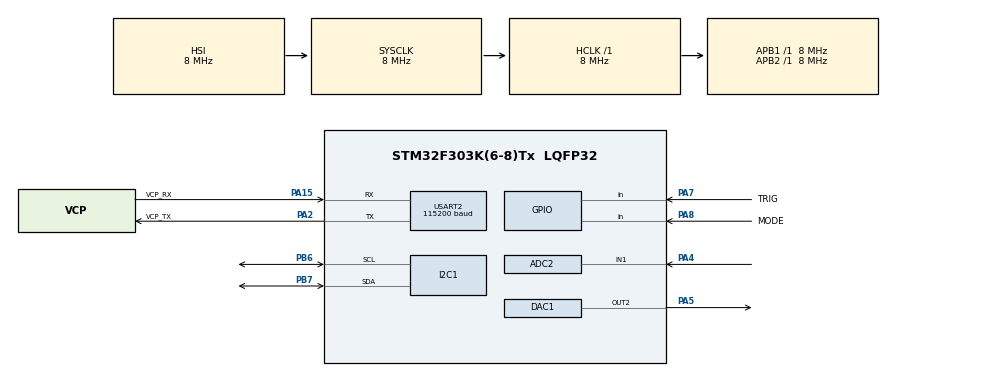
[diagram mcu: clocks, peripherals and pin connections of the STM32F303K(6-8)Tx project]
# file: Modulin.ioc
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ADC2.Channel-1\#ChannelRegularConversion=ADC_CHANNEL_1
ADC2.NbrOfConversionFlag=1
ADC2.Offset-1\#ChannelRegularConversion=0
ADC2.OffsetNumber-1\#ChannelRegularConversion=ADC_OFFSET_NONE
ADC2.Rank-1\#ChannelRegularConversion=1
ADC2.SamplingTime-1\#ChannelRegularConversion=ADC_SAMPLETIME_1CYCLE_5
ADC2.SamplingTimeOPAMP-1\#ChannelRegularConversion=ADC_SAMPLETIME_7CYCLES_5
ADC2.SubFamily=STM32F303x8
Mcu.Family=STM32F3
Mcu.Name=STM32F303K(6-8)Tx
Mcu.Package=LQFP32
NVIC.PriorityGroup=NVIC_PRIORITYGROUP_4
PA13.GPIO_Label=SWDIO
PA13.Mode=Serial_Wire
PA13.Signal=SYS_JTMS-SWDIO
PA14.GPIO_Label=SWCLK
PA14.Mode=Serial_Wire
PA14.Signal=SYS_JTCK-SWCLK
PA15.GPIO_Label=VCP_RX
PA15.Mode=Asynchronous
PA15.Signal=USART2_RX
PA2.GPIO_Label=VCP_TX
PA2.Mode=Asynchronous
PA2.Signal=USART2_TX
PA4.Mode=IN1-Single-Ended
PA4.Signal=ADC2_IN1
PA5.Signal=COMP_DAC12_group
PA7.GPIO_Label=TRIG
PA7.GPIO_PuPd=GPIO_NOPULL
PA7.Signal=GPIO_Input
PA8.GPIO_Label=MODE
PA8.GPIO_PuPd=GPIO_PULLDOWN
PA8.Signal=GPIO_Input
PB6.GPIO_Pu=GPIO_PULLUP
PB6.Mode=I2C
PB6.Signal=I2C1_SCL
PB7.GPIO_Pu=GPIO_PULLUP
PB7.Mode=I2C
PB7.Signal=I2C1_SDA
PF0\ /\ OSC_IN.GPIO_Label=MCO
PF0\ /\ OSC_IN.Mode=HSE-External-Clock-Source
PF0\ /\ OSC_IN.Signal=RCC_OSC_IN
ProjectManager.HeapSize=0x200
ProjectManager.StackSize=0x400
ProjectManager.TargetToolchain=STM32CubeIDE
RCC.AHBFreq_Value=8000000
RCC.APB1Freq_Value=8000000
RCC.APB2Freq_Value=8000000
RCC.CortexFreq_Value=8000000
RCC.HSE_VALUE=8000000
RCC.HSI_VALUE=8000000
RCC.PLLMUL=RCC_PLL_MUL4
RCC.SYSCLKFreq_VALUE=8000000
SH.COMP_DAC12_group.0=DAC1_OUT2,DAC_OUT2
USART2.BaudRate=115200
USART2.VirtualMode-Asynchronous=VM_ASYNC
board=NUCLEO-F303K8

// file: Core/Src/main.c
/* USER CODE BEGIN Header */
/**
  ******************************************************************************
  * @file           : main.c
  * @brief          : Main program body
  ******************************************************************************
  * @attention
  *
  * <h2><center>&copy; Copyright (c) 2019 STMicroelectronics.
  * All rights reserved.</center></h2>
  *
  * This software component is licensed by ST under BSD 3-Clause license,
  * the "License"; You may not use this file except in compliance with the
  * License. You may obtain a copy of the License at:
  *                        opensource.org/licenses/BSD-3-Clause
  *
  ******************************************************************************
  */
/* USER CODE END Header */
#include "main.h"
#include "adc.h"
#include "dac.h"
#include "i2c.h"
#include "usart.h"
#include "gpio.h"

/* USER CODE BEGIN Includes */
#include <string.h>
#include <stdio.h>
#include "ssd1306.h"
#include "ssd1306_fonts.h"
/* USER CODE END Includes */

/* USER CODE BEGIN PM */
#define IN_MAX 4000
#define IN_RELAXED 3900
#define MODE_LIM 2
#define NOT_PRESSED 1000
/* USER CODE END PM */

void SystemClock_Config(void);

/* USER CODE BEGIN 0 */

// Function for mapping input to different steps
uint16_t Map(uint16_t x, int step) {
	return step - (uint16_t)(x * step / IN_MAX);
	// return x * step / (IN_MAX - in_min) + out_min;
}

// Reads the current voltage level from the controller
uint16_t ADC_Read(int step) {
	HAL_ADC_Start(&hadc2);
	HAL_ADC_PollForConversion(&hadc2, HAL_MAX_DELAY);
 	uint16_t raw = HAL_ADC_GetValue(&hadc2);
 	if (raw > IN_RELAXED) {
 		return NOT_PRESSED;
 	}
 	char msg[10];
 	sprintf(msg, "%hu\r\n", raw);
 	HAL_UART_Transmit(&huart2, (uint8_t*)msg, strlen(msg), HAL_MAX_DELAY);
 	HAL_DAC_SetValue(&hdac1, DAC1_CHANNEL_2, DAC_ALIGN_12B_R, IN_MAX - raw);
 	return 1; //Map(raw, step);
}

void DisplayMode(char *mode) {
	ssd1306_Fill(Black);
	ssd1306_SetCursor(5, 20);
	ssd1306_WriteString(mode, Font_7x10, White);
	ssd1306_UpdateScreen();
}

void DisplayStep(int step) {
	ssd1306_SetCursor(8, 20);
	ssd1306_WriteData(step, sizeof(int));
	ssd1306_UpdateScreen();
}

/* USER CODE END 0 */

int main(void)
{
  /* USER CODE BEGIN 1 */
  char msg[10];
  uint16_t position;
  uint16_t previous;

  // Array of the correct voltages for 12-TET
  int tet12[] = {
		  801, 920, 1039, 1157, 1275, 1393, 1511, 1630, 1748, 1867, 1985, 2104, // 1st octave
		  2228, 2347, 2466, 2584, 2703, 2822, 2940, 3058, 3177, 3295, 3414, 3532 // 2nd octave
  };

  // Array of the correct voltages for a Major scale
  int major[] = {
		  0, 204, 410, 514, 719, 925, 1028, // 1st Octave
		  1239, 1444, 1651, 1753, 1959, 2166, 2371, // 2nd Octave
		  2479, 2685, 2891, 2994, 3200, 3405, 3611, // 3rd Octave
		  3719 // Last C
  };

  int minor[] = {
  		  0, 204, 307, 514, 719, 822, 1028, // 1st Octave
		  1239, 1444, 1548, 1753, 1857, 1959, 2166, // 2nd Octave
  		  2479, 2685, 2788, 2994, 3200, 3302, 3508, // 3rd Octave
  		  3719 // Last C
  };

  int* modes[] = {tet12, major, minor};
  int mode = 0;
  int steps = 24;
  /* USER CODE END 1 */

  /* MCU Configuration--------------------------------------------------------*/

  /* Reset of all peripherals, Initializes the Flash interface and the Systick. */
  HAL_Init();

  /* Configure the system clock */
  SystemClock_Config();

  /* Initialize all configured peripherals */
  MX_GPIO_Init();
  MX_USART2_UART_Init();
  MX_ADC2_Init();
  MX_DAC1_Init();
  MX_I2C1_Init();
  /* USER CODE BEGIN 2 */
  HAL_DAC_Start(&hdac1, DAC1_CHANNEL_2);
  //ssd1306_Init();
  //DisplayMode("12-TET");
  /* USER CODE END 2 */

  /* Infinite loop */
  /* USER CODE BEGIN WHILE */
  while (1)
  {
	  if (HAL_GPIO_ReadPin(MODE_GPIO_Port, MODE_Pin)) {
		  mode++;
		  if (mode > MODE_LIM) {
			  mode = 0;
			  steps = 24;
			  //DisplayMode("12-TET");
		  }
		  else {
			  steps = 22;
			  //mode == 1 ? DisplayMode("MAJOR") : DisplayMode("MINOR");
		  }
	  }
	  position = ADC_Read(steps);

	  if (position == NOT_PRESSED) {
		  position = previous;
	  }
	  else if (steps == position) {
		  position--;
	  }

	  //HAL_DAC_SetValue(&hdac1, DAC1_CHANNEL_2, DAC_ALIGN_12B_R, modes[mode][position]);
	  sprintf(msg, "%hu\r\n", position);
	  HAL_UART_Transmit(&huart2, (uint8_t*)msg, strlen(msg), HAL_MAX_DELAY);

	  if (position != previous) {
		  previous = position;
		  //DisplayStep(position);
	  }

	  HAL_Delay(10);

    /* USER CODE END WHILE */

  }
}

void SystemClock_Config(void)
{
  RCC_OscInitTypeDef RCC_OscInitStruct = {0};
  RCC_ClkInitTypeDef RCC_ClkInitStruct = {0};
  RCC_PeriphCLKInitTypeDef PeriphClkInit = {0};

  /** Initializes the RCC Oscillators according to the specified parameters
  * in the RCC_OscInitTypeDef structure.
  */
  RCC_OscInitStruct.OscillatorType = RCC_OSCILLATORTYPE_HSI;
  RCC_OscInitStruct.HSIState = RCC_HSI_ON;
  RCC_OscInitStruct.HSICalibrationValue = RCC_HSICALIBRATION_DEFAULT;
  RCC_OscInitStruct.PLL.PLLState = RCC_PLL_ON;
  RCC_OscInitStruct.PLL.PLLSource = RCC_PLLSOURCE_HSI;
  RCC_OscInitStruct.PLL.PLLMUL = RCC_PLL_MUL4;
  if (HAL_RCC_OscConfig(&RCC_OscInitStruct) != HAL_OK)
  {
    Error_Handler();
  }

  /** Initializes the CPU, AHB and APB buses clocks
  */
  RCC_ClkInitStruct.ClockType = RCC_CLOCKTYPE_HCLK|RCC_CLOCKTYPE_SYSCLK
                              |RCC_CLOCKTYPE_PCLK1|RCC_CLOCKTYPE_PCLK2;
  RCC_ClkInitStruct.SYSCLKSource = RCC_SYSCLKSOURCE_HSI;
  RCC_ClkInitStruct.AHBCLKDivider = RCC_SYSCLK_DIV1;
  RCC_ClkInitStruct.APB1CLKDivider = RCC_HCLK_DIV1;
  RCC_ClkInitStruct.APB2CLKDivider = RCC_HCLK_DIV1;

  if (HAL_RCC_ClockConfig(&RCC_ClkInitStruct, FLASH_LATENCY_0) != HAL_OK)
  {
    Error_Handler();
  }
  PeriphClkInit.PeriphClockSelection = RCC_PERIPHCLK_I2C1|RCC_PERIPHCLK_ADC12;
  PeriphClkInit.Adc12ClockSelection = RCC_ADC12PLLCLK_DIV1;
  PeriphClkInit.I2c1ClockSelection = RCC_I2C1CLKSOURCE_HSI;
  if (HAL_RCCEx_PeriphCLKConfig(&PeriphClkInit) != HAL_OK)
  {
    Error_Handler();
  }
}

void Error_Handler(void)
{
  __disable_irq();
  while (1)
  {
  }
}
